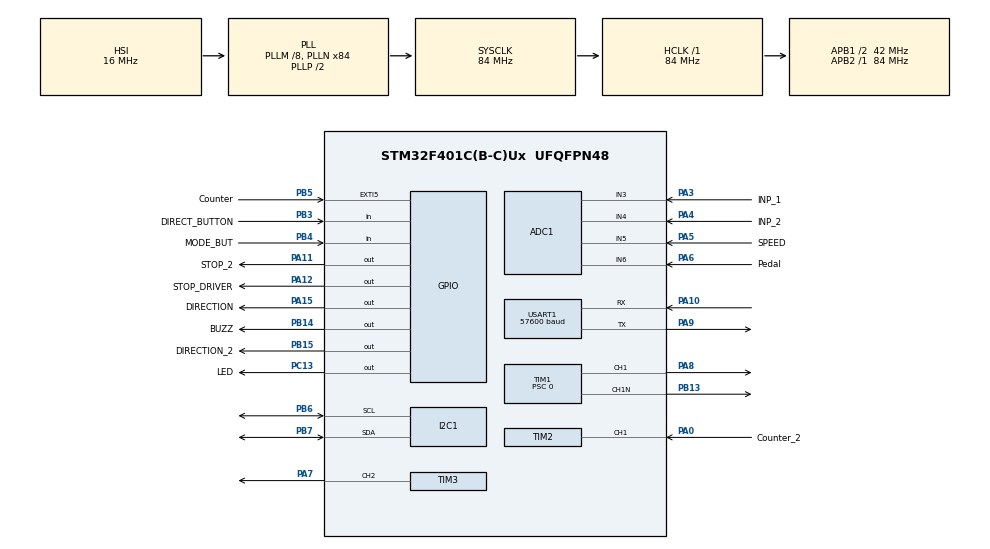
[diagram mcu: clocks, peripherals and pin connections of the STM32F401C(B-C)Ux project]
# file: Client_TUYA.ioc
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ADC1.Channel-1\#ChannelRegularConversion=ADC_CHANNEL_6
ADC1.InjNumberOfConversion=0
ADC1.NbrOfConversionFlag=1
ADC1.Rank-1\#ChannelRegularConversion=1
ADC1.SamplingTime-1\#ChannelRegularConversion=ADC_SAMPLETIME_15CYCLES
ADC1.master=1
Dma.Request0=USART1_RX
Dma.Request1=USART1_TX
Dma.USART1_RX.0.Direction=DMA_PERIPH_TO_MEMORY
Dma.USART1_RX.0.FIFOMode=DMA_FIFOMODE_DISABLE
Dma.USART1_RX.0.Instance=DMA2_Stream2
Dma.USART1_RX.0.MemDataAlignment=DMA_MDATAALIGN_BYTE
Dma.USART1_RX.0.MemInc=DMA_MINC_ENABLE
Dma.USART1_RX.0.Mode=DMA_NORMAL
Dma.USART1_RX.0.PeriphDataAlignment=DMA_PDATAALIGN_BYTE
Dma.USART1_RX.0.PeriphInc=DMA_PINC_DISABLE
Dma.USART1_RX.0.Priority=DMA_PRIORITY_HIGH
Dma.USART1_TX.1.Direction=DMA_MEMORY_TO_PERIPH
Dma.USART1_TX.1.FIFOMode=DMA_FIFOMODE_DISABLE
Dma.USART1_TX.1.Instance=DMA2_Stream7
Dma.USART1_TX.1.MemDataAlignment=DMA_MDATAALIGN_BYTE
Dma.USART1_TX.1.MemInc=DMA_MINC_ENABLE
Dma.USART1_TX.1.Mode=DMA_NORMAL
Dma.USART1_TX.1.PeriphDataAlignment=DMA_PDATAALIGN_BYTE
Dma.USART1_TX.1.PeriphInc=DMA_PINC_DISABLE
Dma.USART1_TX.1.Priority=DMA_PRIORITY_LOW
Mcu.Family=STM32F4
Mcu.Name=STM32F401C(B-C)Ux
Mcu.Package=UFQFPN48
NVIC.DMA2_Stream2_IRQn=true\:0\:0\:false\:false\:true\:false\:true\:true
NVIC.DMA2_Stream7_IRQn=true\:0\:0\:false\:false\:true\:false\:true\:true
NVIC.EXTI9_5_IRQn=true\:0\:0\:false\:false\:true\:true\:true\:true
NVIC.PriorityGroup=NVIC_PRIORITYGROUP_4
NVIC.RCC_IRQn=true\:0\:0\:false\:false\:true\:true\:false\:true
NVIC.TIM2_IRQn=true\:0\:0\:false\:false\:true\:true\:true\:true
NVIC.USART1_IRQn=true\:0\:0\:false\:false\:true\:true\:true\:true
PA0-WKUP.GPIO_Label=Counter_2
PA0-WKUP.Signal=S_TIM2_CH1_ETR
PA10.GPIO_PuPd=GPIO_PULLUP
PA10.GPIO_Speed=GPIO_SPEED_FREQ_VERY_HIGH
PA10.Mode=Asynchronous
PA10.Signal=USART1_RX
PA11.GPIO_Label=STOP_2
PA11.Signal=GPIO_Output
PA12.GPIO_Label=STOP_DRIVER
PA12.Signal=GPIO_Output
PA13.Mode=Serial_Wire
PA13.Signal=SYS_JTMS-SWDIO
PA14.Mode=Serial_Wire
PA14.Signal=SYS_JTCK-SWCLK
PA15.GPIO_Label=DIRECTION
PA15.Signal=GPIO_Output
PA3.GPIO_Label=INP_1
PA3.Signal=ADCx_IN3
PA4.GPIO_Label=INP_2
PA4.Signal=ADCx_IN4
PA5.GPIO_Label=SPEED
PA5.Signal=ADCx_IN5
PA6.GPIO_Label=Pedal
PA6.Signal=ADCx_IN6
PA7.Signal=S_TIM3_CH2
PA8.Signal=S_TIM1_CH1
PA9.Mode=Asynchronous
PA9.Signal=USART1_TX
PB13.Mode=PWM Generation1 CH1 CH1N
PB13.Signal=TIM1_CH1N
PB14.GPIO_Label=BUZZ
PB14.Signal=GPIO_Output
PB15.GPIO_Label=DIRECTION_2
PB15.Signal=GPIO_Output
PB3.GPIO_Label=DIRECT_BUTTON
PB3.Signal=GPIO_Input
PB4.GPIO_Label=MODE_BUT
PB4.GPIO_PuPd=GPIO_PULLUP
PB4.Signal=GPIO_Input
PB5.GPIO_Label=Counter
PB5.Signal=GPXTI5
PB6.Mode=I2C
PB6.Signal=I2C1_SCL
PB7.Mode=I2C
PB7.Signal=I2C1_SDA
PC13-ANTI_TAMP.GPIO_Label=LED
PC13-ANTI_TAMP.GPIO_PuPd=GPIO_NOPULL
PC13-ANTI_TAMP.PinState=GPIO_PIN_RESET
PC13-ANTI_TAMP.Signal=GPIO_Output
ProjectManager.HeapSize=0x200
ProjectManager.StackSize=0x400
ProjectManager.TargetToolchain=STM32CubeIDE
RCC.48MHZClocksFreq_Value=42000000
RCC.AHBFreq_Value=84000000
RCC.APB1CLKDivider=RCC_HCLK_DIV2
RCC.APB1Freq_Value=42000000
RCC.APB1TimFreq_Value=84000000
RCC.APB2Freq_Value=84000000
RCC.APB2TimFreq_Value=84000000
RCC.CortexFreq_Value=84000000
RCC.HCLKFreq_Value=84000000
RCC.HSE_VALUE=25000000
RCC.HSI_VALUE=16000000
RCC.LSE_VALUE=32768
RCC.PLLM=8
RCC.PLLN=84
RCC.SYSCLKFreq_VALUE=84000000
RCC.SYSCLKSource=RCC_SYSCLKSOURCE_PLLCLK
RCC.VCOOutputFreq_Value=168000000
RTC.Month=RTC_MONTH_APRIL
SH.ADCx_IN3.0=ADC1_IN3,IN3
SH.ADCx_IN4.0=ADC1_IN4,IN4
SH.ADCx_IN5.0=ADC1_IN5,IN5
SH.ADCx_IN6.0=ADC1_IN6,IN6
SH.S_TIM1_CH1.0=TIM1_CH1,PWM Generation1 CH1 CH1N
SH.S_TIM2_CH1_ETR.0=TIM2_CH1,Input_Capture1_from_TI1
SH.S_TIM3_CH2.0=TIM3_CH2,PWM Generation2 CH2
TIM1.AutoReloadPreload=TIM_AUTORELOAD_PRELOAD_ENABLE
TIM1.Channel-PWM\ Generation1\ CH1\ CH1N=TIM_CHANNEL_1
TIM1.OCFastMode_PWM-PWM\ Generation1\ CH1\ CH1N=TIM_OCFAST_ENABLE
TIM1.Period=1500
TIM1.Prescaler=0
TIM1.Pulse-PWM\ Generation1\ CH1\ CH1N=750
TIM2.Channel-Input_Capture1_from_TI1=TIM_CHANNEL_1
TIM2.Channel-Input_Capture2_from_TI1_63=TIM_CHANNEL_2
TIM2.ICPolarity_CH2=TIM_INPUTCHANNELPOLARITY_FALLING
TIM3.Channel-PWM\ Generation2\ CH2=TIM_CHANNEL_2
USART1.BaudRate=57600
USART1.VirtualMode=VM_ASYNC
VP_RTC_VS_RTC_Activate.Mode=RTC_Enabled
VP_RTC_VS_RTC_Calendar.Mode=RTC_Calendar
VP_TIM1_VS_ClockSourceINT.Mode=Internal
VP_TIM2_VS_ClockSourceINT.Mode=Internal
VP_TIM2_VS_indirect_ch1.Mode=Input_Capture2_from_TI1_63
VP_TIM3_VS_ClockSourceINT.Mode=Internal
board=custom

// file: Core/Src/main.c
/* USER CODE BEGIN Header */
/**
  ******************************************************************************
  * @file           : main.c
  * @brief          : Main program body
  ******************************************************************************
  * @attention
  *
  * Copyright (c) 2023 STMicroelectronics.
  * All rights reserved.
  *
  * This software is licensed under terms that can be found in the LICENSE file
  * in the root directory of this software component.
  * If no LICENSE file comes with this software, it is provided AS-IS.
  *
  ******************************************************************************
  */
/* USER CODE END Header */
#include "main.h"

/* USER CODE BEGIN Includes */
#include "Regim.h"
#include "string.h"
#include "stdint.h"
#include "stdio.h"
#include "math.h"
#include "TUYA.h"
#include "stdlib.h"
/* USER CODE END Includes */

/* USER CODE BEGIN PD */
#define LCD_ADDR (0x27 << 1)       // адрес дисплея, сдвинутый на 1 бит влево (HAL работает с I2C-адресами, сдвинутыми на 1 бит влево)
#define RTC_ADDR ()
#define PIN_RS    (1 << 0)         // если на ножке 0, данные воспринимаются как команда, если 1 - как символы для вывода
#define PIN_EN    (1 << 2)         // бит, по изменению сост. которого считывается информация
#define BACKLIGHT (1 << 3)         // управление подсветкой

#define LCD_DELAY_MS 5             // пауза перед высвечиванием символа

/* USER CODE END PD */

ADC_HandleTypeDef hadc1;

I2C_HandleTypeDef hi2c1;

RTC_HandleTypeDef hrtc;

TIM_HandleTypeDef htim1;
TIM_HandleTypeDef htim2;
TIM_HandleTypeDef htim3;

UART_HandleTypeDef huart1;
DMA_HandleTypeDef hdma_usart1_rx;
DMA_HandleTypeDef hdma_usart1_tx;

/* USER CODE BEGIN PV */

char time_buffer[20]= { 0 };
char info_buffer[20]= { 0 };
     uint16_t year=0;
     uint8_t month=0;
     uint8_t date=0;
     uint8_t hour=0;
     uint8_t minute=0;
     uint8_t second=0;

     uint8_t flag=0;
     uint8_t regim=0;
     uint16_t turns=0;
     uint8_t arm=0;
     uint8_t run=0;
     uint16_t speed=0;

     uint16_t adc=0;
     uint8_t update_data=0;
     uint8_t cmd_in=0;
/* USER CODE END PV */

void SystemClock_Config(void);
static void MX_GPIO_Init(void);
static void MX_DMA_Init(void);
static void MX_I2C1_Init(void);
static void MX_USART1_UART_Init(void);
static void MX_TIM1_Init(void);
static void MX_RTC_Init(void);
static void MX_ADC1_Init(void);
static void MX_TIM2_Init(void);
static void MX_TIM3_Init(void);

/* USER CODE BEGIN 0 */

void I2C_send(uint8_t data, uint8_t flags)
{
	HAL_StatusTypeDef res;
	    for(;;) {                                                                     // бесконечный цикл
	        res = HAL_I2C_IsDeviceReady(&hi2c1, LCD_ADDR, 1, HAL_MAX_DELAY);          // проверяем, готово ли устройство по адресу lcd_addr для связи
	        if(res == HAL_OK) break;                                                  // если да, то выходим из бесконечного цикла
	    }

	uint8_t up = data & 0xF0;                 // операция �? с 1111 0000, приводит к обнулению последних бит с 0 по 3, остаются биты с 4 по 7
	uint8_t lo = (data << 4) & 0xF0;          // тоже самое, но data сдвигается на 4 бита влево, т.е. в этой
	                                           // переменной остаются  биты с 0 по 3
	uint8_t data_arr[4];
	data_arr[0] = up|flags|BACKLIGHT|PIN_EN;  // 4-7 биты содержат информацию, биты 0-3 конфигурируют работу
	data_arr[1] = up|flags|BACKLIGHT;         // ублирование сигнала, на выводе Е в этот раз 0
	data_arr[2] = lo|flags|BACKLIGHT|PIN_EN;
	data_arr[3] = lo|flags|BACKLIGHT;

	HAL_I2C_Master_Transmit(&hi2c1, LCD_ADDR, data_arr, sizeof(data_arr), HAL_MAX_DELAY);
	HAL_Delay(LCD_DELAY_MS);
}

void LCD_SendString(char *str)
{

	while(*str) {                                   // пока строчка не закончится
		I2C_send((uint8_t)(*str), 1);               // передача первого символа строки
        str++;                                      // сдвиг строки налево на 1 символ
    }
}

/* USER CODE END 0 */

int main(void)
{

  /* MCU Configuration--------------------------------------------------------*/

  /* Reset of all peripherals, Initializes the Flash interface and the Systick. */
  HAL_Init();

  /* Configure the system clock */
  SystemClock_Config();

  /* Initialize all configured peripherals */
  MX_GPIO_Init();
  MX_DMA_Init();
  MX_I2C1_Init();
  MX_USART1_UART_Init();
  MX_TIM1_Init();
  MX_RTC_Init();
  MX_ADC1_Init();
  MX_TIM2_Init();
  MX_TIM3_Init();
  /* USER CODE BEGIN 2 */
  LED_1_ON;
   I2C_send(0b00110000,0);   // 8ми битный интерфейс
   I2C_send(0b00000010,0);   // установка курсора в начале строки
   I2C_send(0b00001100,0);   // нормальный режим работы
   I2C_send(0b00000001,0);   // очистка дисплея

  // I2C_send(0b10000000,0);   // переход на 1 строку, тут не обязателен
   //  LCD_SendString("  Hello ");
   //  I2C_send(0b11000000,0);   // переход на 2 строку

   //  I2C_send(0b10010100,0);   // переход на 3 строку

     I2C_send(0b11010100,0);   // переход на 4 строку
     HAL_TIM_PWM_Start(&htim1, TIM_CHANNEL_1);
     void HAL_UART_IDLECallback(UART_HandleTypeDef *huart);
     // Запускаем прием по DMA с буфером для приема данных
     HAL_UARTEx_ReceiveToIdle_DMA(&huart1,rx_buffer, RX_BUFFER_SIZE);
           __HAL_DMA_DISABLE_IT(&hdma_usart1_rx, DMA_IT_HT);

     LED_1_OFF;

  /* USER CODE END 2 */

  /* Infinite loop */
  /* USER CODE BEGIN WHILE */
  while (1)
  {

	  if((HAL_GPIO_ReadPin(GPIOB, GPIO_PIN_4)==0)&&(flag==0)){
		  regim++;
		  flag=1;
		  arm=0;
		  run=0;
		  HAL_Delay(150);
		  if(regim>3){regim=1;}
         }

	  if((HAL_GPIO_ReadPin(GPIOB, GPIO_PIN_4)==1)&&(flag==1)){

		  flag=0;
		  HAL_Delay(150);

	  }

	  sprintf(time_buffer,"%04d-%02d-%02d  %02d:%02d:%02d",year, month, date,hour, minute, second);
	  	  		//I2C_send(0b00000001,0);   // очистка дисплея
	  	  	    I2C_send(0b11010100,0);   // переход на 4 строку
	  	  		LCD_SendString(time_buffer);

	  if(regim==1){
		  I2C_send(0b10000000,0);   // переход на 1 строку
		  LCD_SendString("RUN MODE-           ");
		  I2C_send(0b11000000,0);   // переход на 2 строку
		  sprintf(info_buffer,"Turns=%04d      ",cmd_in);
		  LCD_SendString(info_buffer);
		  FORVARD;
		  I2C_send(0b10010100,0);   // переход на 3 строку
		  sprintf(info_buffer,"Speed=%04d RPM     ",speed);
		  		  LCD_SendString(info_buffer);

		  if((HAL_GPIO_ReadPin(GPIOB, GPIO_PIN_3)==1)&&(arm==0)&&(run==0)){
			  HAL_Delay(50);
			  I2C_send(0b10000000,0);   // переход на 1 строку
			  		  LCD_SendString("RUN MODE- READY...  ");
			  		 HAL_TIM_PWM_Stop(&htim1, TIM_CHANNEL_1);
			  		 HAL_TIMEx_PWMN_Stop(&htim1, TIM_CHANNEL_1);
		  }

		  if((HAL_GPIO_ReadPin(GPIOB, GPIO_PIN_3)==0)&&(arm==0)&&(run==0)){
                 arm=1;
					  HAL_Delay(150); }

		  if((HAL_GPIO_ReadPin(GPIOB, GPIO_PIN_3)==1)&&(arm==1)&&(run==0)){
		 			  HAL_Delay(50);
		 			  run=1;
		 			  I2C_send(0b10000000,0);   // переход на 1 строку
		 			  		  LCD_SendString("RUN MODE- RUNING    ");

                }

		  if((HAL_GPIO_ReadPin(GPIOB, GPIO_PIN_3)==1)&&(arm==1)&&(run==1)){

		 		                      I2C_send(0b10000000,0);   // переход на 1 строку
		 		                      LCD_SendString("RUN MODE- RUNING    ");

		 		                     HAL_ADC_Start(&hadc1); // запускаем преобразование сигнала АЦП
		 		                     HAL_ADC_PollForConversion(&hadc1, 100); // ожидаем окончания преобразования
		 		                     adc = HAL_ADC_GetValue(&hadc1); // читаем полученное значение в переменную adc
		 		                     HAL_ADC_Stop(&hadc1); // останавливаем АЦП (не обязательно)
		 		                     speed=adc-230;
		 		                     /*
		 		                     if(speed<=80){

		 		                    	 HAL_TIM_PWM_Stop(&htim1, TIM_CHANNEL_1);
		 		                         HAL_TIMEx_PWMN_Stop(&htim1, TIM_CHANNEL_1);
		 		                     }
		 		                    if(speed>85){
		 		                    	 HAL_TIM_PWM_Start(&htim1, TIM_CHANNEL_1);
		 		                    	HAL_TIMEx_PWMN_Start(&htim1, TIM_CHANNEL_1);
		 		                    TIM1->ARR = 64204-24*speed  ;
		 		                    TIM1->CCR1=  (64204-24*speed) /2 ;
		 		                    TIM1->CCR2=   (64204-24*speed) /2 ;
		 		                    }

		 	*/

		 		 					}

		  if((HAL_GPIO_ReadPin(GPIOB, GPIO_PIN_3)==0)&&(arm==1)&&(run==1)){
		                       arm=0;
		                       I2C_send(0b10000000,0);   // переход на 1 строку
		                        LCD_SendString("RUN MODE- RUNING    ");
		 					  HAL_Delay(150); }

		  if((HAL_GPIO_ReadPin(GPIOB, GPIO_PIN_3)==1)&&(arm==0)&&(run==1)){
				                       arm=0;
				                       run=0;
				 					  HAL_Delay(150); }

	  }

	  if(regim==2){
	 		  I2C_send(0b10000000,0);   // переход на 1 строку
	 		  LCD_SendString("REVERS MODE         ");
	 		  REVERS;
	/////////////////////////////////////REVERS/////////////////////////////////////////////
	 		 if((HAL_GPIO_ReadPin(GPIOB, GPIO_PIN_3)==1)&&(arm==0)&&(run==0)){
	 		 			  HAL_Delay(50);
	 		 			  I2C_send(0b10000000,0);   // переход на 1 строку
	 		 			  		  LCD_SendString("REVERS MODE- READY...  ");
	 		 			  	//	 HAL_TIM_PWM_Stop(&htim1, TIM_CHANNEL_1);
	 		 			  	//	 HAL_TIMEx_PWMN_Stop(&htim1, TIM_CHANNEL_1);
	 		 		  }

	 		 		  if((HAL_GPIO_ReadPin(GPIOB, GPIO_PIN_3)==0)&&(arm==0)&&(run==0)){
	 		                       arm=1;
	 		 					  HAL_Delay(150); }

	 		 		  if((HAL_GPIO_ReadPin(GPIOB, GPIO_PIN_3)==1)&&(arm==1)&&(run==0)){
	 		 		 			  HAL_Delay(50);
	 		 		 			  run=1;
	 		 		 			  I2C_send(0b10000000,0);   // переход на 1 строку
	 		 		 			  		  LCD_SendString("REVERS MODE- RUNING    ");

	 		 		 			  	  HAL_ADC_Start(&hadc1); // запускаем преобразование сигнала АЦП
	 		 		 			      HAL_ADC_PollForConversion(&hadc1, 100); // ожидаем окончания преобразования
	 		 		 			      adc = HAL_ADC_GetValue(&hadc1); // читаем полученное значение в переменную adc
	 		 		 			      HAL_ADC_Stop(&hadc1); // останавливаем АЦП (не обязательно)

	 		                      }

	 		 		  if((HAL_GPIO_ReadPin(GPIOB, GPIO_PIN_3)==1)&&(arm==1)&&(run==1)){

	 		 		 		                      I2C_send(0b10000000,0);   // переход на 1 строку
	 		 		 		                      LCD_SendString("REVERS MODE- RUNING    ");
	 		 		 		                    //   HAL_TIM_PWM_Start(&htim1, TIM_CHANNEL_1);
	 		 		 		                    //   HAL_TIMEx_PWMN_Start(&htim1, TIM_CHANNEL_1);

	 		 		 		                    HAL_ADC_Start(&hadc1); // запускаем преобразование сигнала АЦП
	 		 		 		                    HAL_ADC_PollForConversion(&hadc1, 100); // ожидаем окончания преобразования
	 		 		 		                    adc = HAL_ADC_GetValue(&hadc1); // читаем полученное значение в переменную adc
	 		 		 		                     HAL_ADC_Stop(&hadc1); // останавливаем АЦП (не обязательно)
	 		 		 		                     speed=adc;
	 		 		 		 					}

	 		 		  if((HAL_GPIO_ReadPin(GPIOB, GPIO_PIN_3)==0)&&(arm==1)&&(run==1)){
	 		 		                       arm=0;
	 		 		                       I2C_send(0b10000000,0);   // переход на 1 строку
	 		 		                        LCD_SendString("REVERS MODE- RUNING    ");
	 		 		 					  HAL_Delay(150); }

	 		 		  if((HAL_GPIO_ReadPin(GPIOB, GPIO_PIN_3)==1)&&(arm==0)&&(run==1)){
	 		 				                       arm=0;
	 		 				                       run=0;
	 		 				 					  HAL_Delay(150); }

	 	  }

	  if(regim==3){
		 		  I2C_send(0b10000000,0);   // переход на 1 строку
		 		  LCD_SendString("SETUP MODE     ");

		 	  }

    /* USER CODE END WHILE */

  }
}

void SystemClock_Config(void)
{
  RCC_OscInitTypeDef RCC_OscInitStruct = {0};
  RCC_ClkInitTypeDef RCC_ClkInitStruct = {0};

  /** Configure the main internal regulator output voltage
  */
  __HAL_RCC_PWR_CLK_ENABLE();
  __HAL_PWR_VOLTAGESCALING_CONFIG(PWR_REGULATOR_VOLTAGE_SCALE2);

  /** Initializes the RCC Oscillators according to the specified parameters
  * in the RCC_OscInitTypeDef structure.
  */
  RCC_OscInitStruct.OscillatorType = RCC_OSCILLATORTYPE_HSI|RCC_OSCILLATORTYPE_LSI;
  RCC_OscInitStruct.HSIState = RCC_HSI_ON;
  RCC_OscInitStruct.HSICalibrationValue = RCC_HSICALIBRATION_DEFAULT;
  RCC_OscInitStruct.LSIState = RCC_LSI_ON;
  RCC_OscInitStruct.PLL.PLLState = RCC_PLL_ON;
  RCC_OscInitStruct.PLL.PLLSource = RCC_PLLSOURCE_HSI;
  RCC_OscInitStruct.PLL.PLLM = 8;
  RCC_OscInitStruct.PLL.PLLN = 84;
  RCC_OscInitStruct.PLL.PLLP = RCC_PLLP_DIV2;
  RCC_OscInitStruct.PLL.PLLQ = 4;
  if (HAL_RCC_OscConfig(&RCC_OscInitStruct) != HAL_OK)
  {
    Error_Handler();
  }

  /** Initializes the CPU, AHB and APB buses clocks
  */
  RCC_ClkInitStruct.ClockType = RCC_CLOCKTYPE_HCLK|RCC_CLOCKTYPE_SYSCLK
                              |RCC_CLOCKTYPE_PCLK1|RCC_CLOCKTYPE_PCLK2;
  RCC_ClkInitStruct.SYSCLKSource = RCC_SYSCLKSOURCE_PLLCLK;
  RCC_ClkInitStruct.AHBCLKDivider = RCC_SYSCLK_DIV1;
  RCC_ClkInitStruct.APB1CLKDivider = RCC_HCLK_DIV2;
  RCC_ClkInitStruct.APB2CLKDivider = RCC_HCLK_DIV1;

  if (HAL_RCC_ClockConfig(&RCC_ClkInitStruct, FLASH_LATENCY_2) != HAL_OK)
  {
    Error_Handler();
  }
}

static void MX_ADC1_Init(void)
{

  ADC_ChannelConfTypeDef sConfig = {0};

  /** Configure the global features of the ADC (Clock, Resolution, Data Alignment and number of conversion)
  */
  hadc1.Instance = ADC1;
  hadc1.Init.ClockPrescaler = ADC_CLOCK_SYNC_PCLK_DIV4;
  hadc1.Init.Resolution = ADC_RESOLUTION_12B;
  hadc1.Init.ScanConvMode = DISABLE;
  hadc1.Init.ContinuousConvMode = DISABLE;
  hadc1.Init.DiscontinuousConvMode = DISABLE;
  hadc1.Init.ExternalTrigConvEdge = ADC_EXTERNALTRIGCONVEDGE_NONE;
  hadc1.Init.ExternalTrigConv = ADC_SOFTWARE_START;
  hadc1.Init.DataAlign = ADC_DATAALIGN_RIGHT;
  hadc1.Init.NbrOfConversion = 1;
  hadc1.Init.DMAContinuousRequests = DISABLE;
  hadc1.Init.EOCSelection = ADC_EOC_SINGLE_CONV;
  if (HAL_ADC_Init(&hadc1) != HAL_OK)
  {
    Error_Handler();
  }

  /** Configure for the selected ADC regular channel its corresponding rank in the sequencer and its sample time.
  */
  sConfig.Channel = ADC_CHANNEL_6;
  sConfig.Rank = 1;
  sConfig.SamplingTime = ADC_SAMPLETIME_15CYCLES;
  if (HAL_ADC_ConfigChannel(&hadc1, &sConfig) != HAL_OK)
  {
    Error_Handler();
  }

}

static void MX_I2C1_Init(void)
{

  hi2c1.Instance = I2C1;
  hi2c1.Init.ClockSpeed = 100000;
  hi2c1.Init.DutyCycle = I2C_DUTYCYCLE_2;
  hi2c1.Init.OwnAddress1 = 0;
  hi2c1.Init.AddressingMode = I2C_ADDRESSINGMODE_7BIT;
  hi2c1.Init.DualAddressMode = I2C_DUALADDRESS_DISABLE;
  hi2c1.Init.OwnAddress2 = 0;
  hi2c1.Init.GeneralCallMode = I2C_GENERALCALL_DISABLE;
  hi2c1.Init.NoStretchMode = I2C_NOSTRETCH_DISABLE;
  if (HAL_I2C_Init(&hi2c1) != HAL_OK)
  {
    Error_Handler();
  }

}

static void MX_RTC_Init(void)
{

  RTC_TimeTypeDef sTime = {0};
  RTC_DateTypeDef sDate = {0};

  /** Initialize RTC Only
  */
  hrtc.Instance = RTC;
  hrtc.Init.HourFormat = RTC_HOURFORMAT_24;
  hrtc.Init.AsynchPrediv = 127;
  hrtc.Init.SynchPrediv = 255;
  hrtc.Init.OutPut = RTC_OUTPUT_DISABLE;
  hrtc.Init.OutPutPolarity = RTC_OUTPUT_POLARITY_HIGH;
  hrtc.Init.OutPutType = RTC_OUTPUT_TYPE_OPENDRAIN;
  if (HAL_RTC_Init(&hrtc) != HAL_OK)
  {
    Error_Handler();
  }

  /** Initialize RTC and set the Time and Date
  */
  sTime.Hours = 0x0;
  sTime.Minutes = 0x0;
  sTime.Seconds = 0x0;
  sTime.DayLightSaving = RTC_DAYLIGHTSAVING_NONE;
  sTime.StoreOperation = RTC_STOREOPERATION_RESET;
  if (HAL_RTC_SetTime(&hrtc, &sTime, RTC_FORMAT_BCD) != HAL_OK)
  {
    Error_Handler();
  }
  sDate.WeekDay = RTC_WEEKDAY_MONDAY;
  sDate.Month = RTC_MONTH_APRIL;
  sDate.Date = 0x1;
  sDate.Year = 0x0;

  if (HAL_RTC_SetDate(&hrtc, &sDate, RTC_FORMAT_BCD) != HAL_OK)
  {
    Error_Handler();
  }

}

static void MX_TIM1_Init(void)
{

  TIM_ClockConfigTypeDef sClockSourceConfig = {0};
  TIM_MasterConfigTypeDef sMasterConfig = {0};
  TIM_OC_InitTypeDef sConfigOC = {0};
  TIM_BreakDeadTimeConfigTypeDef sBreakDeadTimeConfig = {0};

  htim1.Instance = TIM1;
  htim1.Init.Prescaler = 0;
  htim1.Init.CounterMode = TIM_COUNTERMODE_UP;
  htim1.Init.Period = 1500;
  htim1.Init.ClockDivision = TIM_CLOCKDIVISION_DIV1;
  htim1.Init.RepetitionCounter = 0;
  htim1.Init.AutoReloadPreload = TIM_AUTORELOAD_PRELOAD_ENABLE;
  if (HAL_TIM_Base_Init(&htim1) != HAL_OK)
  {
    Error_Handler();
  }
  sClockSourceConfig.ClockSource = TIM_CLOCKSOURCE_INTERNAL;
  if (HAL_TIM_ConfigClockSource(&htim1, &sClockSourceConfig) != HAL_OK)
  {
    Error_Handler();
  }
  if (HAL_TIM_PWM_Init(&htim1) != HAL_OK)
  {
    Error_Handler();
  }
  sMasterConfig.MasterOutputTrigger = TIM_TRGO_RESET;
  sMasterConfig.MasterSlaveMode = TIM_MASTERSLAVEMODE_DISABLE;
  if (HAL_TIMEx_MasterConfigSynchronization(&htim1, &sMasterConfig) != HAL_OK)
  {
    Error_Handler();
  }
  sConfigOC.OCMode = TIM_OCMODE_PWM1;
  sConfigOC.Pulse = 750;
  sConfigOC.OCPolarity = TIM_OCPOLARITY_HIGH;
  sConfigOC.OCNPolarity = TIM_OCNPOLARITY_HIGH;
  sConfigOC.OCFastMode = TIM_OCFAST_ENABLE;
  sConfigOC.OCIdleState = TIM_OCIDLESTATE_RESET;
  sConfigOC.OCNIdleState = TIM_OCNIDLESTATE_RESET;
  if (HAL_TIM_PWM_ConfigChannel(&htim1, &sConfigOC, TIM_CHANNEL_1) != HAL_OK)
  {
    Error_Handler();
  }
  sBreakDeadTimeConfig.OffStateRunMode = TIM_OSSR_DISABLE;
  sBreakDeadTimeConfig.OffStateIDLEMode = TIM_OSSI_DISABLE;
  sBreakDeadTimeConfig.LockLevel = TIM_LOCKLEVEL_OFF;
  sBreakDeadTimeConfig.DeadTime = 0;
  sBreakDeadTimeConfig.BreakState = TIM_BREAK_DISABLE;
  sBreakDeadTimeConfig.BreakPolarity = TIM_BREAKPOLARITY_HIGH;
  sBreakDeadTimeConfig.AutomaticOutput = TIM_AUTOMATICOUTPUT_DISABLE;
  if (HAL_TIMEx_ConfigBreakDeadTime(&htim1, &sBreakDeadTimeConfig) != HAL_OK)
  {
    Error_Handler();
  }
  HAL_TIM_MspPostInit(&htim1);

}

static void MX_TIM2_Init(void)
{

  TIM_ClockConfigTypeDef sClockSourceConfig = {0};
  TIM_MasterConfigTypeDef sMasterConfig = {0};
  TIM_IC_InitTypeDef sConfigIC = {0};

  htim2.Instance = TIM2;
  htim2.Init.Prescaler = 0;
  htim2.Init.CounterMode = TIM_COUNTERMODE_UP;
  htim2.Init.Period = 4294967295;
  htim2.Init.ClockDivision = TIM_CLOCKDIVISION_DIV1;
  htim2.Init.AutoReloadPreload = TIM_AUTORELOAD_PRELOAD_DISABLE;
  if (HAL_TIM_Base_Init(&htim2) != HAL_OK)
  {
    Error_Handler();
  }
  sClockSourceConfig.ClockSource = TIM_CLOCKSOURCE_INTERNAL;
  if (HAL_TIM_ConfigClockSource(&htim2, &sClockSourceConfig) != HAL_OK)
  {
    Error_Handler();
  }
  if (HAL_TIM_IC_Init(&htim2) != HAL_OK)
  {
    Error_Handler();
  }
  sMasterConfig.MasterOutputTrigger = TIM_TRGO_RESET;
  sMasterConfig.MasterSlaveMode = TIM_MASTERSLAVEMODE_DISABLE;
  if (HAL_TIMEx_MasterConfigSynchronization(&htim2, &sMasterConfig) != HAL_OK)
  {
    Error_Handler();
  }
  sConfigIC.ICPolarity = TIM_INPUTCHANNELPOLARITY_RISING;
  sConfigIC.ICSelection = TIM_ICSELECTION_DIRECTTI;
  sConfigIC.ICPrescaler = TIM_ICPSC_DIV1;
  sConfigIC.ICFilter = 0;
  if (HAL_TIM_IC_ConfigChannel(&htim2, &sConfigIC, TIM_CHANNEL_1) != HAL_OK)
  {
    Error_Handler();
  }
  sConfigIC.ICPolarity = TIM_INPUTCHANNELPOLARITY_FALLING;
  sConfigIC.ICSelection = TIM_ICSELECTION_INDIRECTTI;
  if (HAL_TIM_IC_ConfigChannel(&htim2, &sConfigIC, TIM_CHANNEL_2) != HAL_OK)
  {
    Error_Handler();
  }

}

static void MX_TIM3_Init(void)
{

  TIM_ClockConfigTypeDef sClockSourceConfig = {0};
  TIM_MasterConfigTypeDef sMasterConfig = {0};
  TIM_OC_InitTypeDef sConfigOC = {0};

  htim3.Instance = TIM3;
  htim3.Init.Prescaler = 0;
  htim3.Init.CounterMode = TIM_COUNTERMODE_UP;
  htim3.Init.Period = 65535;
  htim3.Init.ClockDivision = TIM_CLOCKDIVISION_DIV1;
  htim3.Init.AutoReloadPreload = TIM_AUTORELOAD_PRELOAD_DISABLE;
  if (HAL_TIM_Base_Init(&htim3) != HAL_OK)
  {
    Error_Handler();
  }
  sClockSourceConfig.ClockSource = TIM_CLOCKSOURCE_INTERNAL;
  if (HAL_TIM_ConfigClockSource(&htim3, &sClockSourceConfig) != HAL_OK)
  {
    Error_Handler();
  }
  if (HAL_TIM_PWM_Init(&htim3) != HAL_OK)
  {
    Error_Handler();
  }
  sMasterConfig.MasterOutputTrigger = TIM_TRGO_RESET;
  sMasterConfig.MasterSlaveMode = TIM_MASTERSLAVEMODE_DISABLE;
  if (HAL_TIMEx_MasterConfigSynchronization(&htim3, &sMasterConfig) != HAL_OK)
  {
    Error_Handler();
  }
  sConfigOC.OCMode = TIM_OCMODE_PWM1;
  sConfigOC.Pulse = 0;
  sConfigOC.OCPolarity = TIM_OCPOLARITY_HIGH;
  sConfigOC.OCFastMode = TIM_OCFAST_DISABLE;
  if (HAL_TIM_PWM_ConfigChannel(&htim3, &sConfigOC, TIM_CHANNEL_2) != HAL_OK)
  {
    Error_Handler();
  }
  HAL_TIM_MspPostInit(&htim3);

}

static void MX_USART1_UART_Init(void)
{

  huart1.Instance = USART1;
  huart1.Init.BaudRate = 57600;
  huart1.Init.WordLength = UART_WORDLENGTH_8B;
  huart1.Init.StopBits = UART_STOPBITS_1;
  huart1.Init.Parity = UART_PARITY_NONE;
  huart1.Init.Mode = UART_MODE_TX_RX;
  huart1.Init.HwFlowCtl = UART_HWCONTROL_NONE;
  huart1.Init.OverSampling = UART_OVERSAMPLING_16;
  if (HAL_UART_Init(&huart1) != HAL_OK)
  {
    Error_Handler();
  }

}

static void MX_DMA_Init(void)
{

  /* DMA controller clock enable */
  __HAL_RCC_DMA2_CLK_ENABLE();

  /* DMA interrupt init */
  /* DMA2_Stream2_IRQn interrupt configuration */
  HAL_NVIC_SetPriority(DMA2_Stream2_IRQn, 0, 0);
  HAL_NVIC_EnableIRQ(DMA2_Stream2_IRQn);
  /* DMA2_Stream7_IRQn interrupt configuration */
  HAL_NVIC_SetPriority(DMA2_Stream7_IRQn, 0, 0);
  HAL_NVIC_EnableIRQ(DMA2_Stream7_IRQn);

}

static void MX_GPIO_Init(void)
{
  GPIO_InitTypeDef GPIO_InitStruct = {0};

  /* GPIO Ports Clock Enable */
  __HAL_RCC_GPIOC_CLK_ENABLE();
  __HAL_RCC_GPIOA_CLK_ENABLE();
  __HAL_RCC_GPIOB_CLK_ENABLE();

  /*Configure GPIO pin Output Level */
  HAL_GPIO_WritePin(LED_GPIO_Port, LED_Pin, GPIO_PIN_RESET);

  /*Configure GPIO pin Output Level */
  HAL_GPIO_WritePin(GPIOB, BUZZ_Pin|DIRECTION_2_Pin, GPIO_PIN_RESET);

  /*Configure GPIO pin Output Level */
  HAL_GPIO_WritePin(GPIOA, STOP_2_Pin|STOP_DRIVER_Pin|DIRECTION_Pin, GPIO_PIN_RESET);

  /*Configure GPIO pin : LED_Pin */
  GPIO_InitStruct.Pin = LED_Pin;
  GPIO_InitStruct.Mode = GPIO_MODE_OUTPUT_PP;
  GPIO_InitStruct.Pull = GPIO_NOPULL;
  GPIO_InitStruct.Speed = GPIO_SPEED_FREQ_LOW;
  HAL_GPIO_Init(LED_GPIO_Port, &GPIO_InitStruct);

  /*Configure GPIO pins : BUZZ_Pin DIRECTION_2_Pin */
  GPIO_InitStruct.Pin = BUZZ_Pin|DIRECTION_2_Pin;
  GPIO_InitStruct.Mode = GPIO_MODE_OUTPUT_PP;
  GPIO_InitStruct.Pull = GPIO_NOPULL;
  GPIO_InitStruct.Speed = GPIO_SPEED_FREQ_LOW;
  HAL_GPIO_Init(GPIOB, &GPIO_InitStruct);

  /*Configure GPIO pins : STOP_2_Pin STOP_DRIVER_Pin DIRECTION_Pin */
  GPIO_InitStruct.Pin = STOP_2_Pin|STOP_DRIVER_Pin|DIRECTION_Pin;
  GPIO_InitStruct.Mode = GPIO_MODE_OUTPUT_PP;
  GPIO_InitStruct.Pull = GPIO_NOPULL;
  GPIO_InitStruct.Speed = GPIO_SPEED_FREQ_LOW;
  HAL_GPIO_Init(GPIOA, &GPIO_InitStruct);

  /*Configure GPIO pin : DIRECT_BUTTON_Pin */
  GPIO_InitStruct.Pin = DIRECT_BUTTON_Pin;
  GPIO_InitStruct.Mode = GPIO_MODE_INPUT;
  GPIO_InitStruct.Pull = GPIO_NOPULL;
  HAL_GPIO_Init(DIRECT_BUTTON_GPIO_Port, &GPIO_InitStruct);

  /*Configure GPIO pin : MODE_BUT_Pin */
  GPIO_InitStruct.Pin = MODE_BUT_Pin;
  GPIO_InitStruct.Mode = GPIO_MODE_INPUT;
  GPIO_InitStruct.Pull = GPIO_PULLUP;
  HAL_GPIO_Init(MODE_BUT_GPIO_Port, &GPIO_InitStruct);

  /*Configure GPIO pin : Counter_Pin */
  GPIO_InitStruct.Pin = Counter_Pin;
  GPIO_InitStruct.Mode = GPIO_MODE_IT_RISING;
  GPIO_InitStruct.Pull = GPIO_NOPULL;
  HAL_GPIO_Init(Counter_GPIO_Port, &GPIO_InitStruct);

  /* EXTI interrupt init*/
  HAL_NVIC_SetPriority(EXTI9_5_IRQn, 0, 0);
  HAL_NVIC_EnableIRQ(EXTI9_5_IRQn);

}

/* USER CODE BEGIN 4 */

void HAL_UARTEx_RxEventCallback(UART_HandleTypeDef *huart, uint16_t Size)
{
	if (huart->Instance == USART1)
	{
		//lastActivityTime = HAL_GetTick();
		LED_1_ON;

	    __HAL_UART_DISABLE_IT(&huart1, UART_IT_IDLE);

	    HAL_DMA_Abort(&hdma_usart1_rx);
	    uint16_t    received_length = Size;
	    process_received_data(rx_buffer, received_length);

	}
}
/* USER CODE END 4 */

void Error_Handler(void)
{
  __disable_irq();
  while (1)
  {
  }
}
